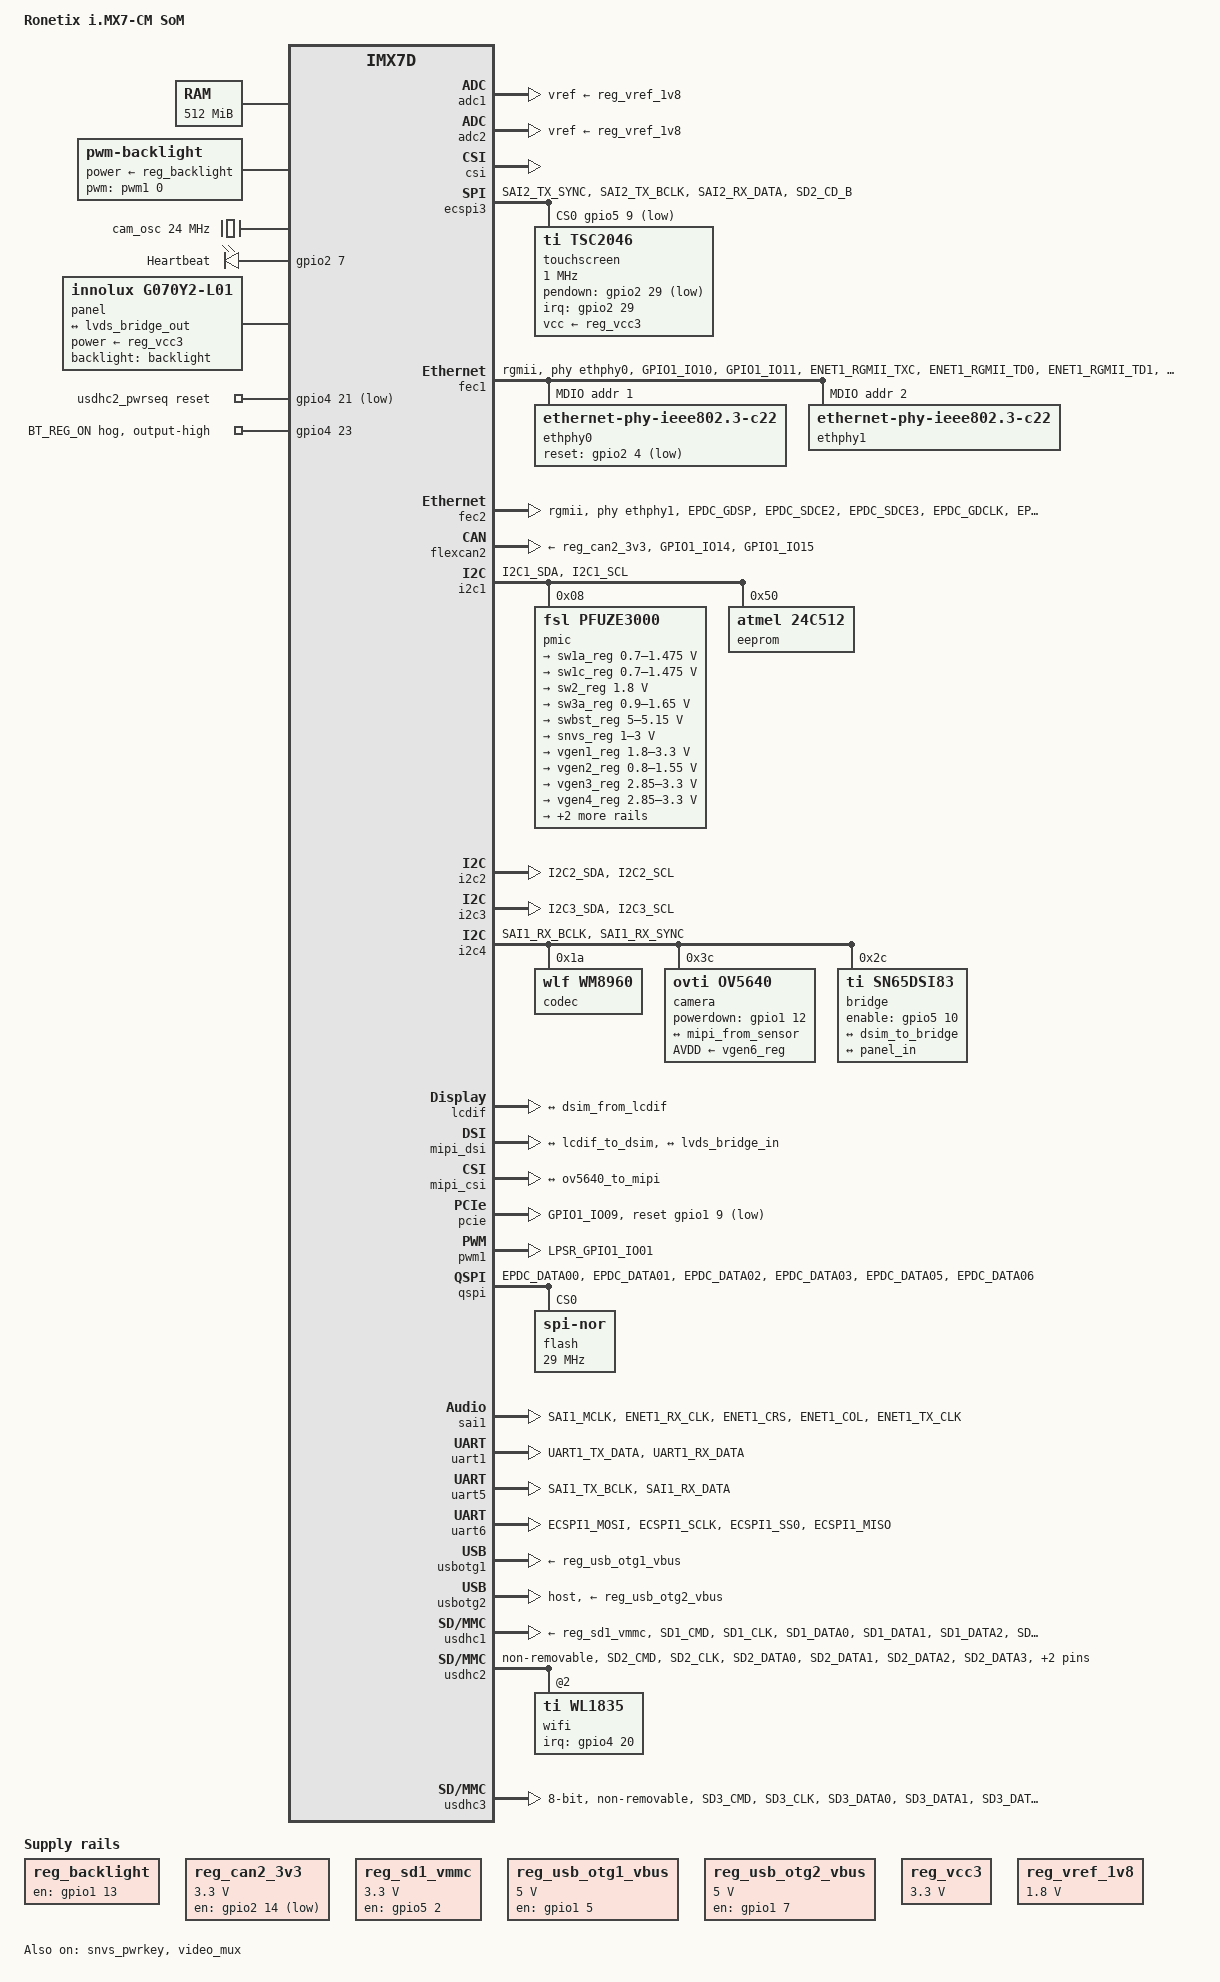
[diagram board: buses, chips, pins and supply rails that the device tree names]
// SPDX-License-Identifier: GPL-2.0+ OR MIT
/*
 * Copyright (C) 2015 Freescale Semiconductor, Inc.
 * Copyright (C) 2019-2026 Ronetix GmbH, Ilko Iliev <iliev@ronetix.at>
 *
 * Ronetix i.MX7-CM SoM
 */

/dts-v1/;

#include <dt-bindings/leds/common.h>
#include "imx7d.dtsi"

/* i.MX7-CM full version: audio, touchscreen and LVDS display */
#define IMX7_CM_FULL	1
/* QSPI NOR flash assembled */
#define IMX7_CM_QSPI	1

/ {
	model = "Ronetix i.MX7-CM SoM";
	compatible = "ronetix,imx7-cm", "fsl,imx7d";

	chosen {
		stdout-path = &uart1;
	};

	memory@80000000 {
		device_type = "memory";
		reg = <0x80000000 0x20000000>;
	};

	reserved-memory {
		#address-cells = <1>;
		#size-cells = <1>;
		ranges;

		linux,cma {
			compatible = "shared-dma-pool";
			reusable;
			size = <0x04000000>;	/* 64 MiB */
			linux,cma-default;
		};
	};

	backlight: backlight {
		compatible = "pwm-backlight";
		power-supply = <&reg_backlight>;
		pwms = <&pwm1 0 5000000 0>;
		brightness-levels = <0 4 8 16 32 64 128 255>;
		default-brightness-level = <6>;
	};

	/* the OV5640 camera module has its own 24 MHz oscillator */
	cam_osc: clock-camera {
		compatible = "fixed-clock";
		#clock-cells = <0>;
		clock-frequency = <24000000>;
	};

	leds {
		compatible = "gpio-leds";
		pinctrl-names = "default";
		pinctrl-0 = <&pinctrl_leds>;

		led-0 {
			label = "Heartbeat";
			function = LED_FUNCTION_HEARTBEAT;
			gpios = <&gpio2 7 GPIO_ACTIVE_HIGH>;
			linux,default-trigger = "heartbeat";
		};
	};

#ifdef IMX7_CM_FULL
	/* InnoLux G070Y2-L01 behind the SN65DSI83 DSI to LVDS bridge */
	panel: panel {
		compatible = "innolux,g070y2-l01";
		backlight = <&backlight>;
		power-supply = <&reg_vcc3>;

		port {
			panel_in: endpoint {
				remote-endpoint = <&lvds_bridge_out>;
			};
		};
	};
#endif

	reg_backlight: regulator-backlight {
		compatible = "regulator-fixed";
		pinctrl-names = "default";
		pinctrl-0 = <&pinctrl_backlight>;
		regulator-name = "backlight";
		gpio = <&gpio1 13 GPIO_ACTIVE_HIGH>;
		enable-active-high;
	};

	reg_can2_3v3: regulator-can2-3v3 {
		compatible = "regulator-fixed";
		pinctrl-names = "default";
		pinctrl-0 = <&pinctrl_flexcan2_reg>;
		regulator-name = "can2-3v3";
		regulator-min-microvolt = <3300000>;
		regulator-max-microvolt = <3300000>;
		gpio = <&gpio2 14 GPIO_ACTIVE_LOW>;
	};

	reg_sd1_vmmc: regulator-sd1-vmmc {
		compatible = "regulator-fixed";
		regulator-name = "VDD_SD1";
		regulator-min-microvolt = <3300000>;
		regulator-max-microvolt = <3300000>;
		gpio = <&gpio5 2 GPIO_ACTIVE_HIGH>;
		startup-delay-us = <200000>;
		off-on-delay-us = <20000>;
		enable-active-high;
	};

	reg_usb_otg1_vbus: regulator-usb-otg1-vbus {
		compatible = "regulator-fixed";
		regulator-name = "usb_otg1_vbus";
		regulator-min-microvolt = <5000000>;
		regulator-max-microvolt = <5000000>;
		gpio = <&gpio1 5 GPIO_ACTIVE_HIGH>;
		enable-active-high;
	};

	reg_usb_otg2_vbus: regulator-usb-otg2-vbus {
		compatible = "regulator-fixed";
		pinctrl-names = "default";
		pinctrl-0 = <&pinctrl_usb_otg2_vbus_reg>;
		regulator-name = "usb_otg2_vbus";
		regulator-min-microvolt = <5000000>;
		regulator-max-microvolt = <5000000>;
		gpio = <&gpio1 7 GPIO_ACTIVE_HIGH>;
		enable-active-high;
	};

	reg_vcc3: regulator-vcc3 {
		compatible = "regulator-fixed";
		regulator-name = "VCC3";
		regulator-min-microvolt = <3300000>;
		regulator-max-microvolt = <3300000>;
		regulator-always-on;
	};

	reg_vref_1v8: regulator-vref-1v8 {
		compatible = "regulator-fixed";
		regulator-name = "vref-1v8";
		regulator-min-microvolt = <1800000>;
		regulator-max-microvolt = <1800000>;
	};

#ifdef IMX7_CM_FULL
	sound {
		compatible = "fsl,imx7d-evk-wm8960", "fsl,imx-audio-wm8960";
		model = "wm8960-audio";
		audio-cpu = <&sai1>;
		audio-codec = <&codec>;
		audio-routing =
			"Headphone Jack", "HP_L",
			"Headphone Jack", "HP_R",
			"Ext Spk", "SPK_LP",
			"Ext Spk", "SPK_LN",
			"Ext Spk", "SPK_RP",
			"Ext Spk", "SPK_RN",
			"LINPUT1", "AMIC",
			"AMIC", "MICB";
	};
#endif

	/* WL_REG_ON */
	usdhc2_pwrseq: usdhc2-pwrseq {
		compatible = "mmc-pwrseq-simple";
		reset-gpios = <&gpio4 21 GPIO_ACTIVE_LOW>;
	};
};

&adc1 {
	vref-supply = <&reg_vref_1v8>;
	status = "okay";
};

&adc2 {
	vref-supply = <&reg_vref_1v8>;
	status = "okay";
};

&clks {
	assigned-clocks = <&clks IMX7D_PLL_AUDIO_POST_DIV>;
	assigned-clock-rates = <884736000>;
};

&cpu0 {
	cpu-supply = <&sw1a_reg>;
};

&cpu1 {
	cpu-supply = <&sw1a_reg>;
};

&csi {
	status = "okay";
};

#ifdef IMX7_CM_FULL
&ecspi3 {
	pinctrl-names = "default";
	pinctrl-0 = <&pinctrl_ecspi3>;
	cs-gpios = <&gpio5 9 GPIO_ACTIVE_LOW>;
	status = "okay";

	/*
	 * 27.09.2019
	 * The touchscreen doesn't work correctly.
	 * The xinput_calibrator doesn't work because the threshold is too high
	 */
	touchscreen@0 {
		compatible = "ti,tsc2046";
		reg = <0>;
		spi-max-frequency = <1000000>;
		pinctrl-names = "default";
		pinctrl-0 = <&pinctrl_tsc2046_pendown>;
		vcc-supply = <&reg_vcc3>;
		interrupt-parent = <&gpio2>;
		interrupts = <29 IRQ_TYPE_EDGE_FALLING>;
		pendown-gpio = <&gpio2 29 GPIO_ACTIVE_LOW>;
		ti,x-min = /bits/ 16 <0>;
		ti,x-max = /bits/ 16 <0>;
		ti,y-min = /bits/ 16 <0>;
		ti,y-max = /bits/ 16 <0>;
		ti,pressure-max = /bits/ 16 <0>;
		ti,x-plate-ohms = /bits/ 16 <400>;
		wakeup-source;
	};
};
#endif

&fec1 {
	pinctrl-names = "default";
	pinctrl-0 = <&pinctrl_enet1>;
	assigned-clocks = <&clks IMX7D_ENET_PHY_REF_ROOT_SRC>,
			  <&clks IMX7D_ENET_AXI_ROOT_SRC>,
			  <&clks IMX7D_ENET1_TIME_ROOT_SRC>,
			  <&clks IMX7D_ENET1_TIME_ROOT_CLK>,
			  <&clks IMX7D_ENET_AXI_ROOT_CLK>;
	assigned-clock-parents = <&clks IMX7D_PLL_ENET_MAIN_25M_CLK>,
				 <&clks IMX7D_PLL_ENET_MAIN_250M_CLK>,
				 <&clks IMX7D_PLL_ENET_MAIN_100M_CLK>;
	assigned-clock-rates = <0>, <0>, <0>, <100000000>, <250000000>;
	phy-mode = "rgmii";
	phy-handle = <&ethphy0>;
	fsl,magic-packet;
	status = "okay";

	mdio {
		#address-cells = <1>;
		#size-cells = <0>;

		/* KSZ9031, the reset line is shared by both PHYs */
		ethphy0: ethernet-phy@1 {
			compatible = "ethernet-phy-ieee802.3-c22";
			reg = <1>;
			reset-gpios = <&gpio2 4 GPIO_ACTIVE_LOW>;
			reset-assert-us = <10000>;
			reset-deassert-us = <1000>;
			/*
			 * KSZ9031 skews, 60 ps steps:
			 * clock: 0 = -900 ps, 900 = 0 ps, 1860 = +960 ps
			 * data/control: 0 = -420 ps, 420 = 0 ps, 900 = +480 ps
			 */
			rxc-skew-ps = <960>;
			txc-skew-ps = <960>;
			txd0-skew-ps = <420>;
			txd1-skew-ps = <420>;
			txd2-skew-ps = <420>;
			txd3-skew-ps = <420>;
			rxd0-skew-ps = <420>;
			rxd1-skew-ps = <420>;
			rxd2-skew-ps = <420>;
			rxd3-skew-ps = <420>;
			txen-skew-ps = <420>;
			rxdv-skew-ps = <420>;
		};

		ethphy1: ethernet-phy@2 {
			compatible = "ethernet-phy-ieee802.3-c22";
			reg = <2>;
			/*
			 * KSZ9031 skews, 60 ps steps:
			 * clock: 0 = -900 ps, 900 = 0 ps, 1860 = +960 ps
			 * data/control: 0 = -420 ps, 420 = 0 ps, 900 = +480 ps
			 */
			rxc-skew-ps = <960>;
			txc-skew-ps = <960>;
			txd0-skew-ps = <420>;
			txd1-skew-ps = <420>;
			txd2-skew-ps = <420>;
			txd3-skew-ps = <420>;
			rxd0-skew-ps = <420>;
			rxd1-skew-ps = <420>;
			rxd2-skew-ps = <420>;
			rxd3-skew-ps = <420>;
			txen-skew-ps = <420>;
			rxdv-skew-ps = <420>;
		};
	};
};

&fec2 {
	pinctrl-names = "default";
	pinctrl-0 = <&pinctrl_enet2>;
	assigned-clocks = <&clks IMX7D_ENET_PHY_REF_ROOT_SRC>,
			  <&clks IMX7D_ENET_AXI_ROOT_SRC>,
			  <&clks IMX7D_ENET2_TIME_ROOT_SRC>,
			  <&clks IMX7D_ENET2_TIME_ROOT_CLK>,
			  <&clks IMX7D_ENET_AXI_ROOT_CLK>;
	assigned-clock-parents = <&clks IMX7D_PLL_ENET_MAIN_25M_CLK>,
				 <&clks IMX7D_PLL_ENET_MAIN_250M_CLK>,
				 <&clks IMX7D_PLL_ENET_MAIN_100M_CLK>;
	assigned-clock-rates = <0>, <0>, <0>, <100000000>, <250000000>;
	phy-mode = "rgmii";
	phy-handle = <&ethphy1>;
	fsl,magic-packet;
	status = "okay";
};

&flexcan2 {
	pinctrl-names = "default";
	pinctrl-0 = <&pinctrl_flexcan2>;
	xceiver-supply = <&reg_can2_3v3>;
	status = "okay";
};

&i2c1 {
	pinctrl-names = "default";
	pinctrl-0 = <&pinctrl_i2c1>;
	status = "okay";

	pmic@8 {
		compatible = "fsl,pfuze3000";
		reg = <0x08>;

		regulators {
			sw1a_reg: sw1a {
				regulator-min-microvolt = <700000>;
				regulator-max-microvolt = <1475000>;
				regulator-boot-on;
				regulator-always-on;
				regulator-ramp-delay = <6250>;
			};

			/* use sw1c_reg to align with pfuze100/pfuze200 */
			sw1c_reg: sw1b {
				regulator-min-microvolt = <700000>;
				regulator-max-microvolt = <1475000>;
				regulator-boot-on;
				regulator-always-on;
				regulator-ramp-delay = <6250>;
			};

			sw2_reg: sw2 {
				regulator-min-microvolt = <1800000>;
				regulator-max-microvolt = <1800000>;
				regulator-boot-on;
				regulator-always-on;
			};

			sw3a_reg: sw3 {
				regulator-min-microvolt = <900000>;
				regulator-max-microvolt = <1650000>;
				regulator-boot-on;
				regulator-always-on;
			};

			swbst_reg: swbst {
				regulator-min-microvolt = <5000000>;
				regulator-max-microvolt = <5150000>;
			};

			snvs_reg: vsnvs {
				regulator-min-microvolt = <1000000>;
				regulator-max-microvolt = <3000000>;
				regulator-boot-on;
				regulator-always-on;
			};

			vref_reg: vrefddr {
				regulator-boot-on;
				regulator-always-on;
			};

			vgen1_reg: vldo1 {
				regulator-min-microvolt = <1800000>;
				regulator-max-microvolt = <3300000>;
				regulator-always-on;
			};

			vgen2_reg: vldo2 {
				regulator-min-microvolt = <800000>;
				regulator-max-microvolt = <1550000>;
				regulator-always-on;
			};

			vgen3_reg: vccsd {
				regulator-min-microvolt = <2850000>;
				regulator-max-microvolt = <3300000>;
				regulator-always-on;
			};

			vgen4_reg: v33 {
				regulator-min-microvolt = <2850000>;
				regulator-max-microvolt = <3300000>;
				regulator-always-on;
			};

			vgen5_reg: vldo3 {
				regulator-min-microvolt = <1800000>;
				regulator-max-microvolt = <3300000>;
				regulator-always-on;
			};

			vgen6_reg: vldo4 {
				regulator-min-microvolt = <2800000>;
				regulator-max-microvolt = <2800000>;
				regulator-always-on;
			};
		};
	};

	eeprom@50 {
		compatible = "atmel,24c512";
		reg = <0x50>;
		pagesize = <128>;
	};
};

&i2c2 {
	pinctrl-names = "default";
	pinctrl-0 = <&pinctrl_i2c2>;
	status = "okay";
};

&i2c3 {
	pinctrl-names = "default";
	pinctrl-0 = <&pinctrl_i2c3>;
	status = "okay";
};

&i2c4 {
	pinctrl-names = "default";
	pinctrl-0 = <&pinctrl_i2c4>;
	status = "okay";

	codec: audio-codec@1a {
		compatible = "wlf,wm8960";
		reg = <0x1a>;
		#sound-dai-cells = <0>;
		clocks = <&clks IMX7D_AUDIO_MCLK_ROOT_CLK>;
		clock-names = "mclk";
		assigned-clocks = <&clks IMX7D_AUDIO_MCLK_ROOT_SRC>,
				  <&clks IMX7D_AUDIO_MCLK_ROOT_CLK>;
		assigned-clock-parents = <&clks IMX7D_PLL_AUDIO_POST_DIV>;
		assigned-clock-rates = <0>, <12288000>;
		wlf,shared-lrclk;
	};

	camera@3c {
		compatible = "ovti,ov5640";
		reg = <0x3c>;
		clocks = <&cam_osc>;
		clock-names = "xclk";
		powerdown-gpios = <&gpio1 12 GPIO_ACTIVE_HIGH>;
		AVDD-supply = <&vgen6_reg>;

		port {
			ov5640_to_mipi: endpoint {
				remote-endpoint = <&mipi_from_sensor>;
				clock-lanes = <0>;
				data-lanes = <1 2>;
			};
		};
	};

#ifdef IMX7_CM_FULL
	bridge@2c {
		compatible = "ti,sn65dsi83";
		reg = <0x2c>;
		pinctrl-names = "default";
		pinctrl-0 = <&pinctrl_lvds_bridge>;
		enable-gpios = <&gpio5 10 GPIO_ACTIVE_HIGH>;

		ports {
			#address-cells = <1>;
			#size-cells = <0>;

			port@0 {
				reg = <0>;

				lvds_bridge_in: endpoint {
					data-lanes = <1 2>;
					remote-endpoint = <&dsim_to_bridge>;
				};
			};

			port@2 {
				reg = <2>;

				lvds_bridge_out: endpoint {
					remote-endpoint = <&panel_in>;
				};
			};
		};
	};
#endif
};

#ifdef IMX7_CM_FULL
&lcdif {
	status = "okay";

	port {
		lcdif_to_dsim: endpoint {
			remote-endpoint = <&dsim_from_lcdif>;
		};
	};
};

&mipi_dsi {
	status = "okay";

	ports {
		#address-cells = <1>;
		#size-cells = <0>;

		port@0 {
			reg = <0>;

			dsim_from_lcdif: endpoint {
				remote-endpoint = <&lcdif_to_dsim>;
			};
		};

		port@1 {
			reg = <1>;

			dsim_to_bridge: endpoint {
				data-lanes = <1 2>;
				remote-endpoint = <&lvds_bridge_in>;
			};
		};
	};
};
#endif

&mipi_csi {
	clock-frequency = <240000000>;
	status = "okay";

	ports {
		port@0 {
			reg = <0>;

			mipi_from_sensor: endpoint {
				remote-endpoint = <&ov5640_to_mipi>;
				data-lanes = <1 2>;
			};
		};
	};
};

&pcie {
	pinctrl-names = "default";
	pinctrl-0 = <&pinctrl_pcie>;
	/*
	 * On i.MX7-MB PCIE_DIS_B and PCIE_RST_B are connected to connector J13,
	 * if necessary wire to some GPIOs and update the following
	 */
	reset-gpio = <&gpio1 9 GPIO_ACTIVE_LOW>;
	status = "okay";
};

&pwm1 {
	pinctrl-names = "default";
	pinctrl-0 = <&pinctrl_pwm1>;
	status = "okay";
};

#ifdef IMX7_CM_QSPI
&qspi {
	pinctrl-names = "default";
	pinctrl-0 = <&pinctrl_qspi1_1>;
	status = "okay";

	flash@0 {
		compatible = "jedec,spi-nor";
		reg = <0>;
		#address-cells = <1>;
		#size-cells = <1>;
		spi-max-frequency = <29000000>;
		spi-rx-bus-width = <4>;
		spi-tx-bus-width = <4>;
	};
};
#endif

&sai1 {
	pinctrl-names = "default";
	pinctrl-0 = <&pinctrl_sai1>;
	assigned-clocks = <&clks IMX7D_SAI1_ROOT_SRC>,
			  <&clks IMX7D_SAI1_ROOT_CLK>;
	assigned-clock-parents = <&clks IMX7D_PLL_AUDIO_POST_DIV>;
	assigned-clock-rates = <0>, <36864000>;
	status = "okay";
};

&snvs_poweroff {
	status = "okay";
};

&snvs_pwrkey {
	status = "okay";
};

&uart1 { /* console */
	pinctrl-names = "default";
	pinctrl-0 = <&pinctrl_uart1>;
	assigned-clocks = <&clks IMX7D_UART1_ROOT_SRC>;
	assigned-clock-parents = <&clks IMX7D_OSC_24M_CLK>;
	status = "okay";
};

&uart5 {
	pinctrl-names = "default";
	pinctrl-0 = <&pinctrl_uart5>;
	assigned-clocks = <&clks IMX7D_UART5_ROOT_SRC>;
	assigned-clock-parents = <&clks IMX7D_PLL_SYS_MAIN_240M_CLK>;
	status = "okay";
};

&uart6 { /* Bluetooth */
	pinctrl-names = "default";
	pinctrl-0 = <&pinctrl_uart6>;
	assigned-clocks = <&clks IMX7D_UART6_ROOT_SRC>;
	assigned-clock-parents = <&clks IMX7D_PLL_SYS_MAIN_240M_CLK>;
	uart-has-rtscts;
	status = "okay";
};

&usbotg1 {
	vbus-supply = <&reg_usb_otg1_vbus>;
	status = "okay";
};

&usbotg2 {
	vbus-supply = <&reg_usb_otg2_vbus>;
	dr_mode = "host";
	status = "okay";
};

/* SD card */
&usdhc1 {
	pinctrl-names = "default", "state_100mhz", "state_200mhz";
	pinctrl-0 = <&pinctrl_usdhc1>, <&pinctrl_usdhc1_gpio>;
	pinctrl-1 = <&pinctrl_usdhc1_100mhz>, <&pinctrl_usdhc1_gpio>;
	pinctrl-2 = <&pinctrl_usdhc1_200mhz>, <&pinctrl_usdhc1_gpio>;
	cd-gpios = <&gpio5 0 GPIO_ACTIVE_HIGH>;
	wp-gpios = <&gpio5 1 GPIO_ACTIVE_LOW>;
	vmmc-supply = <&reg_sd1_vmmc>;
	status = "okay";
};

/* WLAN */
&usdhc2 {
	#address-cells = <1>;
	#size-cells = <0>;
	pinctrl-names = "default", "state_100mhz", "state_200mhz";
	pinctrl-0 = <&pinctrl_usdhc2>, <&pinctrl_wifi>;
	pinctrl-1 = <&pinctrl_usdhc2_100mhz>, <&pinctrl_wifi>;
	pinctrl-2 = <&pinctrl_usdhc2_200mhz>, <&pinctrl_wifi>;
	mmc-pwrseq = <&usdhc2_pwrseq>;
	fsl,tuning-step = <2>;
	cap-power-off-card;
	keep-power-in-suspend;
	non-removable;
	status = "okay";

	wifi@2 {
		compatible = "ti,wl1835";
		reg = <2>;
		interrupt-parent = <&gpio4>;
		interrupts = <20 IRQ_TYPE_LEVEL_HIGH>;	/* WL_HOST_WAKE */
	};
};

/* eMMC */
&usdhc3 {
	pinctrl-names = "default", "state_100mhz", "state_200mhz";
	pinctrl-0 = <&pinctrl_usdhc3>;
	pinctrl-1 = <&pinctrl_usdhc3_100mhz>;
	pinctrl-2 = <&pinctrl_usdhc3_200mhz>;
	assigned-clocks = <&clks IMX7D_USDHC3_ROOT_CLK>;
	assigned-clock-rates = <400000000>;
	bus-width = <8>;
	non-removable;
	status = "okay";
};

&video_mux {
	status = "okay";
};

&wdog1 {
	pinctrl-names = "default";
	pinctrl-0 = <&pinctrl_wdog>;
	fsl,ext-reset-output;
};

&gpio4 {
	bt-reg-on-hog {
		gpio-hog;
		gpios = <23 GPIO_ACTIVE_HIGH>;
		output-high;
		line-name = "BT_REG_ON";
	};
};

&iomuxc {
	pinctrl-names = "default";
	pinctrl-0 = <&pinctrl_hog>;

	pinctrl_hog: hoggrp {
		fsl,pins = <
			MX7D_PAD_ECSPI2_SS0__GPIO4_IO23			0x19	/* BT_REG_ON */
		>;
	};

	pinctrl_backlight: backlightgrp {
		fsl,pins = <
			MX7D_PAD_GPIO1_IO13__GPIO1_IO13			0x34	/* BACKLIGHT_EN  */
		>;
	};

	pinctrl_ecspi3: ecspi3grp {
		fsl,pins = <
			MX7D_PAD_SAI2_TX_SYNC__ECSPI3_MISO		0x2
			MX7D_PAD_SAI2_TX_BCLK__ECSPI3_MOSI		0x2
			MX7D_PAD_SAI2_RX_DATA__ECSPI3_SCLK		0x2
			MX7D_PAD_SD2_CD_B__GPIO5_IO9			0x59
		>;
	};

	pinctrl_enet1: enet1grp {
		fsl,pins = <
			MX7D_PAD_GPIO1_IO10__ENET1_MDIO			0x3
			MX7D_PAD_GPIO1_IO11__ENET1_MDC			0x3
			MX7D_PAD_ENET1_RGMII_TXC__ENET1_RGMII_TXC	0x1
			MX7D_PAD_ENET1_RGMII_TD0__ENET1_RGMII_TD0	0x1
			MX7D_PAD_ENET1_RGMII_TD1__ENET1_RGMII_TD1	0x1
			MX7D_PAD_ENET1_RGMII_TD2__ENET1_RGMII_TD2	0x1
			MX7D_PAD_ENET1_RGMII_TD3__ENET1_RGMII_TD3	0x1
			MX7D_PAD_ENET1_RGMII_TX_CTL__ENET1_RGMII_TX_CTL	0x1
			MX7D_PAD_ENET1_RGMII_RXC__ENET1_RGMII_RXC	0x1
			MX7D_PAD_ENET1_RGMII_RD0__ENET1_RGMII_RD0	0x1
			MX7D_PAD_ENET1_RGMII_RD1__ENET1_RGMII_RD1	0x1
			MX7D_PAD_ENET1_RGMII_RD2__ENET1_RGMII_RD2	0x1
			MX7D_PAD_ENET1_RGMII_RD3__ENET1_RGMII_RD3	0x1
			MX7D_PAD_ENET1_RGMII_RX_CTL__ENET1_RGMII_RX_CTL	0x1
			MX7D_PAD_EPDC_DATA04__GPIO2_IO4			0x14	/* ETH_RESET */
		>;
	};

	pinctrl_enet2: enet2grp {
		fsl,pins = <
			MX7D_PAD_EPDC_GDSP__ENET2_RGMII_TXC		0x1
			MX7D_PAD_EPDC_SDCE2__ENET2_RGMII_TD0		0x1
			MX7D_PAD_EPDC_SDCE3__ENET2_RGMII_TD1		0x1
			MX7D_PAD_EPDC_GDCLK__ENET2_RGMII_TD2		0x1
			MX7D_PAD_EPDC_GDOE__ENET2_RGMII_TD3		0x1
			MX7D_PAD_EPDC_GDRL__ENET2_RGMII_TX_CTL		0x1
			MX7D_PAD_EPDC_SDCE1__ENET2_RGMII_RXC		0x1
			MX7D_PAD_EPDC_SDCLK__ENET2_RGMII_RD0		0x1
			MX7D_PAD_EPDC_SDLE__ENET2_RGMII_RD1		0x1
			MX7D_PAD_EPDC_SDOE__ENET2_RGMII_RD2		0x1
			MX7D_PAD_EPDC_SDSHR__ENET2_RGMII_RD3		0x1
			MX7D_PAD_EPDC_SDCE0__ENET2_RGMII_RX_CTL		0x1
		>;
	};

	pinctrl_flexcan2: flexcan2grp {
		fsl,pins = <
			MX7D_PAD_GPIO1_IO14__FLEXCAN2_RX		0x59
			MX7D_PAD_GPIO1_IO15__FLEXCAN2_TX		0x59
		>;
	};

	pinctrl_flexcan2_reg: flexcan2reggrp {
		fsl,pins = <
			MX7D_PAD_EPDC_DATA14__GPIO2_IO14		0x59	/* CAN_STBY */
		>;
	};

	pinctrl_i2c1: i2c1grp {
		fsl,pins = <
			MX7D_PAD_I2C1_SDA__I2C1_SDA			0x4000007f
			MX7D_PAD_I2C1_SCL__I2C1_SCL			0x4000007f
		>;
	};

	pinctrl_i2c2: i2c2grp {
		fsl,pins = <
			MX7D_PAD_I2C2_SDA__I2C2_SDA			0x4000007f
			MX7D_PAD_I2C2_SCL__I2C2_SCL			0x4000007f
		>;
	};

	pinctrl_i2c3: i2c3grp {
		fsl,pins = <
			MX7D_PAD_I2C3_SDA__I2C3_SDA			0x4000007f
			MX7D_PAD_I2C3_SCL__I2C3_SCL			0x4000007f
		>;
	};

	pinctrl_i2c4: i2c4grp {
		fsl,pins = <
			MX7D_PAD_SAI1_RX_BCLK__I2C4_SDA			0x4000007f
			MX7D_PAD_SAI1_RX_SYNC__I2C4_SCL			0x4000007f
		>;
	};

	pinctrl_leds: ledsgrp {
		fsl,pins = <
			MX7D_PAD_EPDC_DATA07__GPIO2_IO7			0x34	/* Onboard LED */
		>;
	};

	pinctrl_lvds_bridge: lvdsgrp {
		fsl,pins = <
			MX7D_PAD_SD2_WP__GPIO5_IO10			0x14
		>;
	};

	pinctrl_pcie: pciegrp {
		fsl,pins = <
			MX7D_PAD_GPIO1_IO09__GPIO1_IO9			0x34	/* PCIE_RST */
		>;
	};

	pinctrl_qspi1_1: qspi1grp {
		fsl,pins = <
			MX7D_PAD_EPDC_DATA00__QSPI_A_DATA0		0x51
			MX7D_PAD_EPDC_DATA01__QSPI_A_DATA1		0x51
			MX7D_PAD_EPDC_DATA02__QSPI_A_DATA2		0x51
			MX7D_PAD_EPDC_DATA03__QSPI_A_DATA3		0x51
			MX7D_PAD_EPDC_DATA05__QSPI_A_SCLK		0x51
			MX7D_PAD_EPDC_DATA06__QSPI_A_SS0_B		0x51
		>;
	};

	pinctrl_sai1: sai1grp {
		fsl,pins = <
			MX7D_PAD_SAI1_MCLK__SAI1_MCLK			0x1f
			MX7D_PAD_ENET1_RX_CLK__SAI1_TX_BCLK		0x1f
			MX7D_PAD_ENET1_CRS__SAI1_TX_SYNC		0x1f
			MX7D_PAD_ENET1_COL__SAI1_TX_DATA0		0x30
			MX7D_PAD_ENET1_TX_CLK__SAI1_RX_DATA0		0x1f
		>;
	};

	pinctrl_tsc2046_pendown: tsc2046pendowngrp {
		fsl,pins = <
			/* TSC2046, PENIRQ, CPU pin K23
			* 0x59 - Pull-up 47k
			* 0x39 - Pull-up 5k
			*/
			MX7D_PAD_EPDC_BDR1__GPIO2_IO29			0x59
		>;
	};

	pinctrl_uart1: uart1grp {
		fsl,pins = <
			MX7D_PAD_UART1_TX_DATA__UART1_DCE_TX		0x79
			MX7D_PAD_UART1_RX_DATA__UART1_DCE_RX		0x79
		>;
	};

	pinctrl_uart5: uart5grp {
		fsl,pins = <
			MX7D_PAD_SAI1_TX_BCLK__UART5_DCE_TX		0x79
			MX7D_PAD_SAI1_RX_DATA__UART5_DCE_RX		0x79
		>;
	};

	pinctrl_uart6: uart6grp {
		fsl,pins = <
			MX7D_PAD_ECSPI1_MOSI__UART6_DCE_TX		0x79
			MX7D_PAD_ECSPI1_SCLK__UART6_DCE_RX		0x79
			MX7D_PAD_ECSPI1_SS0__UART6_DCE_CTS		0x79
			MX7D_PAD_ECSPI1_MISO__UART6_DCE_RTS		0x79
		>;
	};

	pinctrl_usdhc1_gpio: usdhc1gpiogrp {
		fsl,pins = <
			MX7D_PAD_SD1_CD_B__GPIO5_IO0			0x59	/* CD */
			MX7D_PAD_SD1_WP__GPIO5_IO1			0x59	/* WP */
			MX7D_PAD_SD1_RESET_B__GPIO5_IO2			0x59	/* vmmc */
			MX7D_PAD_GPIO1_IO08__SD1_VSELECT		0x59	/* VSELECT */
		>;
	};

	pinctrl_usdhc1: usdhc1grp {
		fsl,pins = <
			MX7D_PAD_SD1_CMD__SD1_CMD			0x59
			MX7D_PAD_SD1_CLK__SD1_CLK			0x19
			MX7D_PAD_SD1_DATA0__SD1_DATA0			0x59
			MX7D_PAD_SD1_DATA1__SD1_DATA1			0x59
			MX7D_PAD_SD1_DATA2__SD1_DATA2			0x59
			MX7D_PAD_SD1_DATA3__SD1_DATA3			0x59
		>;
	};

	pinctrl_usdhc1_100mhz: usdhc1-100mhzgrp {
		fsl,pins = <
			MX7D_PAD_SD1_CMD__SD1_CMD			0x5a
			MX7D_PAD_SD1_CLK__SD1_CLK			0x1a
			MX7D_PAD_SD1_DATA0__SD1_DATA0			0x5a
			MX7D_PAD_SD1_DATA1__SD1_DATA1			0x5a
			MX7D_PAD_SD1_DATA2__SD1_DATA2			0x5a
			MX7D_PAD_SD1_DATA3__SD1_DATA3			0x5a
		>;
	};

	pinctrl_usdhc1_200mhz: usdhc1-200mhzgrp {
		fsl,pins = <
			MX7D_PAD_SD1_CMD__SD1_CMD			0x5b
			MX7D_PAD_SD1_CLK__SD1_CLK			0x1b
			MX7D_PAD_SD1_DATA0__SD1_DATA0			0x5b
			MX7D_PAD_SD1_DATA1__SD1_DATA1			0x5b
			MX7D_PAD_SD1_DATA2__SD1_DATA2			0x5b
			MX7D_PAD_SD1_DATA3__SD1_DATA3			0x5b
		>;
	};

	pinctrl_usdhc2: usdhc2grp {
		fsl,pins = <
			MX7D_PAD_SD2_CMD__SD2_CMD			0x59
			MX7D_PAD_SD2_CLK__SD2_CLK			0x19
			MX7D_PAD_SD2_DATA0__SD2_DATA0			0x59
			MX7D_PAD_SD2_DATA1__SD2_DATA1			0x59
			MX7D_PAD_SD2_DATA2__SD2_DATA2			0x59
			MX7D_PAD_SD2_DATA3__SD2_DATA3			0x59
		>;
	};

	pinctrl_usdhc2_100mhz: usdhc2-100mhzgrp {
		fsl,pins = <
			MX7D_PAD_SD2_CMD__SD2_CMD			0x5a
			MX7D_PAD_SD2_CLK__SD2_CLK			0x1a
			MX7D_PAD_SD2_DATA0__SD2_DATA0			0x5a
			MX7D_PAD_SD2_DATA1__SD2_DATA1			0x5a
			MX7D_PAD_SD2_DATA2__SD2_DATA2			0x5a
			MX7D_PAD_SD2_DATA3__SD2_DATA3			0x5a
		>;
	};

	pinctrl_usdhc2_200mhz: usdhc2-200mhzgrp {
		fsl,pins = <
			MX7D_PAD_SD2_CMD__SD2_CMD			0x5b
			MX7D_PAD_SD2_CLK__SD2_CLK			0x1b
			MX7D_PAD_SD2_DATA0__SD2_DATA0			0x5b
			MX7D_PAD_SD2_DATA1__SD2_DATA1			0x5b
			MX7D_PAD_SD2_DATA2__SD2_DATA2			0x5b
			MX7D_PAD_SD2_DATA3__SD2_DATA3			0x5b
		>;
	};

	pinctrl_usdhc3: usdhc3grp {
		fsl,pins = <
			MX7D_PAD_SD3_CMD__SD3_CMD			0x59
			MX7D_PAD_SD3_CLK__SD3_CLK			0x19
			MX7D_PAD_SD3_DATA0__SD3_DATA0			0x59
			MX7D_PAD_SD3_DATA1__SD3_DATA1			0x59
			MX7D_PAD_SD3_DATA2__SD3_DATA2			0x59
			MX7D_PAD_SD3_DATA3__SD3_DATA3			0x59
			MX7D_PAD_SD3_DATA4__SD3_DATA4			0x59
			MX7D_PAD_SD3_DATA5__SD3_DATA5			0x59
			MX7D_PAD_SD3_DATA6__SD3_DATA6			0x59
			MX7D_PAD_SD3_DATA7__SD3_DATA7			0x59
			MX7D_PAD_SD3_STROBE__SD3_STROBE			0x19
		>;
	};

	pinctrl_usdhc3_100mhz: usdhc3-100mhzgrp {
		fsl,pins = <
			MX7D_PAD_SD3_CMD__SD3_CMD			0x5a
			MX7D_PAD_SD3_CLK__SD3_CLK			0x1a
			MX7D_PAD_SD3_DATA0__SD3_DATA0			0x5a
			MX7D_PAD_SD3_DATA1__SD3_DATA1			0x5a
			MX7D_PAD_SD3_DATA2__SD3_DATA2			0x5a
			MX7D_PAD_SD3_DATA3__SD3_DATA3			0x5a
			MX7D_PAD_SD3_DATA4__SD3_DATA4			0x5a
			MX7D_PAD_SD3_DATA5__SD3_DATA5			0x5a
			MX7D_PAD_SD3_DATA6__SD3_DATA6			0x5a
			MX7D_PAD_SD3_DATA7__SD3_DATA7			0x5a
			MX7D_PAD_SD3_STROBE__SD3_STROBE			0x1a
		>;
	};

	pinctrl_usdhc3_200mhz: usdhc3-200mhzgrp {
		fsl,pins = <
			MX7D_PAD_SD3_CMD__SD3_CMD			0x5b
			MX7D_PAD_SD3_CLK__SD3_CLK			0x1b
			MX7D_PAD_SD3_DATA0__SD3_DATA0			0x5b
			MX7D_PAD_SD3_DATA1__SD3_DATA1			0x5b
			MX7D_PAD_SD3_DATA2__SD3_DATA2			0x5b
			MX7D_PAD_SD3_DATA3__SD3_DATA3			0x5b
			MX7D_PAD_SD3_DATA4__SD3_DATA4			0x5b
			MX7D_PAD_SD3_DATA5__SD3_DATA5			0x5b
			MX7D_PAD_SD3_DATA6__SD3_DATA6			0x5b
			MX7D_PAD_SD3_DATA7__SD3_DATA7			0x5b
			MX7D_PAD_SD3_STROBE__SD3_STROBE			0x1b
		>;
	};

	pinctrl_wifi: wifigrp {
		fsl,pins = <
			MX7D_PAD_ECSPI2_SCLK__GPIO4_IO20		0x19	/* WL_HOST_WAKE */
			MX7D_PAD_ECSPI2_MOSI__GPIO4_IO21		0x14	/* WL_REG_ON */
		>;
	};
};

&iomuxc_lpsr {
	pinctrl_pwm1: pwm1grp {
		fsl,pins = <
			MX7D_PAD_LPSR_GPIO1_IO01__PWM1_OUT		0x30
		>;
	};

	pinctrl_usb_otg2_vbus_reg: usbotg2vbusreggrp {
		fsl,pins = <
			MX7D_PAD_LPSR_GPIO1_IO07__GPIO1_IO7		0x14
		>;
	};

	pinctrl_wdog: wdoggrp {
		fsl,pins = <
			MX7D_PAD_LPSR_GPIO1_IO00__WDOG1_WDOG_B		0x74
		>;
	};
};
